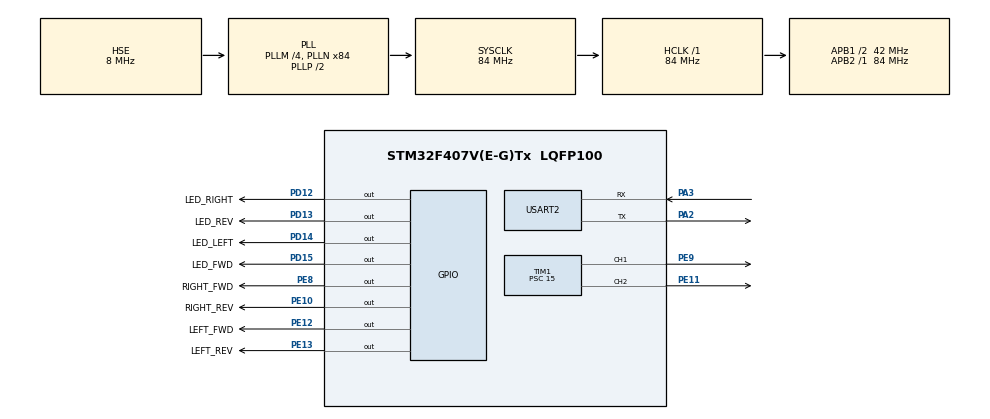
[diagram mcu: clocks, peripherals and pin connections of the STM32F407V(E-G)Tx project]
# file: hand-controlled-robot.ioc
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Mcu.Family=STM32F4
Mcu.Name=STM32F407V(E-G)Tx
Mcu.Package=LQFP100
NVIC.PriorityGroup=NVIC_PRIORITYGROUP_4
NVIC.USART2_IRQn=true\:0\:0\:false\:false\:true\:true\:true\:true
PA2.Mode=Asynchronous
PA2.Signal=USART2_TX
PA3.Mode=Asynchronous
PA3.Signal=USART2_RX
PD12.GPIO_Label=LED_RIGHT
PD12.Signal=GPIO_Output
PD13.GPIO_Label=LED_REV
PD13.Signal=GPIO_Output
PD14.GPIO_Label=LED_LEFT
PD14.Signal=GPIO_Output
PD15.GPIO_Label=LED_FWD
PD15.Signal=GPIO_Output
PE10.GPIO_Label=RIGHT_REV
PE10.Signal=GPIO_Output
PE11.Signal=S_TIM1_CH2
PE12.GPIO_Label=LEFT_FWD
PE12.Signal=GPIO_Output
PE13.GPIO_Label=LEFT_REV
PE13.Signal=GPIO_Output
PE8.GPIO_Label=RIGHT_FWD
PE8.Signal=GPIO_Output
PE9.Signal=S_TIM1_CH1
PH0-OSC_IN.Mode=HSE-External-Oscillator
PH0-OSC_IN.Signal=RCC_OSC_IN
PH1-OSC_OUT.Mode=HSE-External-Oscillator
PH1-OSC_OUT.Signal=RCC_OSC_OUT
ProjectManager.HeapSize=0x200
ProjectManager.StackSize=0x400
ProjectManager.TargetToolchain=STM32CubeIDE
RCC.48MHZClocksFreq_Value=42000000
RCC.AHBFreq_Value=84000000
RCC.APB1CLKDivider=RCC_HCLK_DIV2
RCC.APB1Freq_Value=42000000
RCC.APB1TimFreq_Value=84000000
RCC.APB2Freq_Value=84000000
RCC.APB2TimFreq_Value=84000000
RCC.CortexFreq_Value=84000000
RCC.HCLKFreq_Value=84000000
RCC.HSE_VALUE=8000000
RCC.HSI_VALUE=16000000
RCC.LSE_VALUE=32768
RCC.PLLM=4
RCC.PLLN=84
RCC.PLLSourceVirtual=RCC_PLLSOURCE_HSE
RCC.SYSCLKFreq_VALUE=84000000
RCC.SYSCLKSource=RCC_SYSCLKSOURCE_PLLCLK
RCC.VCOOutputFreq_Value=168000000
SH.S_TIM1_CH1.0=TIM1_CH1,PWM Generation1 CH1
SH.S_TIM1_CH2.0=TIM1_CH2,PWM Generation2 CH2
TIM1.Channel-PWM\ Generation1\ CH1=TIM_CHANNEL_1
TIM1.Channel-PWM\ Generation2\ CH2=TIM_CHANNEL_2
TIM1.Period=255
TIM1.Prescaler=15
USART2.VirtualMode=VM_ASYNC
board=custom

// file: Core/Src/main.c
/* USER CODE BEGIN Header */
/**
  ******************************************************************************
  * @file           : main.c
  * @brief          : Main program body
  ******************************************************************************
  * @attention
  *
  * Copyright (c) 2025 STMicroelectronics.
  * All rights reserved.
  *
  * This software is licensed under terms that can be found in the LICENSE file
  * in the root directory of this software component.
  * If no LICENSE file comes with this software, it is provided AS-IS.
  *
  ******************************************************************************
  */
/* USER CODE END Header */
#include "main.h"

/* USER CODE BEGIN Includes */
#include <string.h>
/* USER CODE END Includes */

/* USER CODE BEGIN PTD */

typedef enum {
  MODE_FORWARD = 0,
  MODE_REVERSE = 1,
  MODE_RIGHT = 2,
  MODE_LEFT = 3,
  MODE_STOP = 4
} MotorMode;

/* USER CODE END PTD */

TIM_HandleTypeDef htim1;
UART_HandleTypeDef huart2;

/* USER CODE BEGIN PV */

#define UART_BUFFER_SIZE 100
#define PACKET_SIZE 5

uint8_t uartRxBuffer[UART_BUFFER_SIZE];
uint8_t rxByte;
volatile uint16_t rxIndex = 0;
uint8_t commandBuffer[PACKET_SIZE];
volatile uint8_t newCommandReceived = 0;

uint8_t currentMode = MODE_STOP;
uint8_t currentPWM_Right = 0;
uint8_t currentPWM_Left = 0;

/* USER CODE END PV */

void SystemClock_Config(void);
static void MX_GPIO_Init(void);
static void MX_TIM1_Init(void);
static void MX_USART2_UART_Init(void);
/* USER CODE BEGIN PFP */
void processCommand(uint8_t *data);
void setMotor(GPIO_TypeDef *fwdPort, uint16_t fwdPin, GPIO_TypeDef *revPort, uint16_t revPin, uint32_t channel, uint8_t pwm, uint8_t forward);
void moveForward(uint8_t pwm_right, uint8_t pwm_left);
void moveReverse(uint8_t pwm_right, uint8_t pwm_left);
void rotateRight(uint8_t pwm_right, uint8_t pwm_left);
void rotateLeft(uint8_t pwm_right, uint8_t pwm_left);
void stopMotors(void);
void updateLEDs(void);
void turnOffAllLEDs(void);
/* USER CODE END PFP */

/* USER CODE BEGIN 0 */
void processCommand(uint8_t *data) {
  if (data[4] != (data[1] ^ data[2] ^ data[3]) || data[1] > MODE_STOP) {
    return;
  }

  currentMode = data[1];
  currentPWM_Right = data[2];
  currentPWM_Left = data[3];

  switch (currentMode) {
    case MODE_FORWARD:  moveForward(data[2], data[3]);  break;
    case MODE_REVERSE:  moveReverse(data[2], data[3]);  break;
    case MODE_RIGHT:    rotateRight(data[2], data[3]);  break;
    case MODE_LEFT:     rotateLeft(data[2], data[3]);   break;
    case MODE_STOP:     stopMotors();                   break;
  }
}

void setMotor(GPIO_TypeDef *fwdPort, uint16_t fwdPin, GPIO_TypeDef *revPort, uint16_t revPin,
              uint32_t channel, uint8_t pwm, uint8_t forward) {
  HAL_GPIO_WritePin(fwdPort, fwdPin, forward ? GPIO_PIN_SET : GPIO_PIN_RESET);
  HAL_GPIO_WritePin(revPort, revPin, forward ? GPIO_PIN_RESET : GPIO_PIN_SET);
  __HAL_TIM_SET_COMPARE(&htim1, channel, pwm);
}

void moveForward(uint8_t pwm_right, uint8_t pwm_left) {
  setMotor(RIGHT_FWD_GPIO_Port, RIGHT_FWD_Pin, RIGHT_REV_GPIO_Port, RIGHT_REV_Pin, TIM_CHANNEL_1, pwm_right, 1);
  setMotor(LEFT_FWD_GPIO_Port, LEFT_FWD_Pin, LEFT_REV_GPIO_Port, LEFT_REV_Pin, TIM_CHANNEL_2, pwm_left, 1);
  updateLEDs();
}

void moveReverse(uint8_t pwm_right, uint8_t pwm_left) {
  setMotor(RIGHT_FWD_GPIO_Port, RIGHT_FWD_Pin, RIGHT_REV_GPIO_Port, RIGHT_REV_Pin, TIM_CHANNEL_1, pwm_right, 0);
  setMotor(LEFT_FWD_GPIO_Port, LEFT_FWD_Pin, LEFT_REV_GPIO_Port, LEFT_REV_Pin, TIM_CHANNEL_2, pwm_left, 0);
  updateLEDs();
}

void rotateRight(uint8_t pwm_right, uint8_t pwm_left) {
  setMotor(RIGHT_FWD_GPIO_Port, RIGHT_FWD_Pin, RIGHT_REV_GPIO_Port, RIGHT_REV_Pin, TIM_CHANNEL_1, pwm_right, 0);
  setMotor(LEFT_FWD_GPIO_Port, LEFT_FWD_Pin, LEFT_REV_GPIO_Port, LEFT_REV_Pin, TIM_CHANNEL_2, pwm_left, 1);
  updateLEDs();
}

void rotateLeft(uint8_t pwm_right, uint8_t pwm_left) {
  setMotor(RIGHT_FWD_GPIO_Port, RIGHT_FWD_Pin, RIGHT_REV_GPIO_Port, RIGHT_REV_Pin, TIM_CHANNEL_1, pwm_right, 1);
  setMotor(LEFT_FWD_GPIO_Port, LEFT_FWD_Pin, LEFT_REV_GPIO_Port, LEFT_REV_Pin, TIM_CHANNEL_2, pwm_left, 0);
  updateLEDs();
}

void stopMotors(void) {
  setMotor(RIGHT_FWD_GPIO_Port, RIGHT_FWD_Pin, RIGHT_REV_GPIO_Port, RIGHT_REV_Pin, TIM_CHANNEL_1, 0, 1);
  setMotor(LEFT_FWD_GPIO_Port, LEFT_FWD_Pin, LEFT_REV_GPIO_Port, LEFT_REV_Pin, TIM_CHANNEL_2, 0, 1);
  turnOffAllLEDs();
}

void updateLEDs(void) {
  turnOffAllLEDs();

  uint8_t rightFwd = HAL_GPIO_ReadPin(RIGHT_FWD_GPIO_Port, RIGHT_FWD_Pin);
  uint8_t leftFwd = HAL_GPIO_ReadPin(LEFT_FWD_GPIO_Port, LEFT_FWD_Pin);

  if (rightFwd == leftFwd) {
    HAL_GPIO_WritePin(rightFwd ? LED_FWD_GPIO_Port : LED_REV_GPIO_Port,
                      rightFwd ? LED_FWD_Pin : LED_REV_Pin, GPIO_PIN_SET);

    if (currentPWM_Right > currentPWM_Left) {
      HAL_GPIO_WritePin(LED_LEFT_GPIO_Port, LED_LEFT_Pin, GPIO_PIN_SET);
    } else if (currentPWM_Left > currentPWM_Right) {
      HAL_GPIO_WritePin(LED_RIGHT_GPIO_Port, LED_RIGHT_Pin, GPIO_PIN_SET);
    }
  }
  else {
    HAL_GPIO_WritePin(rightFwd ? LED_LEFT_GPIO_Port : LED_RIGHT_GPIO_Port,
                      rightFwd ? LED_LEFT_Pin : LED_RIGHT_Pin, GPIO_PIN_SET);
  }
}

void turnOffAllLEDs(void) {
  HAL_GPIO_WritePin(LED_FWD_GPIO_Port, LED_FWD_Pin, GPIO_PIN_RESET);
  HAL_GPIO_WritePin(LED_REV_GPIO_Port, LED_REV_Pin, GPIO_PIN_RESET);
  HAL_GPIO_WritePin(LED_LEFT_GPIO_Port, LED_LEFT_Pin, GPIO_PIN_RESET);
  HAL_GPIO_WritePin(LED_RIGHT_GPIO_Port, LED_RIGHT_Pin, GPIO_PIN_RESET);
}

void HAL_UART_RxCpltCallback(UART_HandleTypeDef *huart) {
  if (huart->Instance == USART2) {
    if (rxIndex == 0) {
      if (rxByte == 0xFF) {
        uartRxBuffer[0] = 0xFF;
        rxIndex = 1;
      }
    }
    else {
      uartRxBuffer[rxIndex++] = rxByte;

      if (rxIndex == PACKET_SIZE) {
        memcpy(commandBuffer, uartRxBuffer, PACKET_SIZE);
        newCommandReceived = 1;
        rxIndex = 0;
      }
    }

    HAL_UART_Receive_IT(&huart2, &rxByte, 1);
  }
}

/* USER CODE END 0 */

int main(void)
{

  /* MCU Configuration--------------------------------------------------------*/

  /* Reset of all peripherals, Initializes the Flash interface and the Systick. */
  HAL_Init();

  /* Configure the system clock */
  SystemClock_Config();

  /* Initialize all configured peripherals */
  MX_GPIO_Init();
  MX_TIM1_Init();
  MX_USART2_UART_Init();
  /* USER CODE BEGIN 2 */

  HAL_TIM_PWM_Start(&htim1, TIM_CHANNEL_1);
  HAL_TIM_PWM_Start(&htim1, TIM_CHANNEL_2);

  stopMotors();

  HAL_UART_Receive_IT(&huart2, &rxByte, 1);

  HAL_GPIO_WritePin(LED_FWD_GPIO_Port, LED_FWD_Pin, GPIO_PIN_SET);
  HAL_Delay(100);
  HAL_GPIO_WritePin(LED_FWD_GPIO_Port, LED_FWD_Pin, GPIO_PIN_RESET);

  HAL_GPIO_WritePin(LED_RIGHT_GPIO_Port, LED_RIGHT_Pin, GPIO_PIN_SET);
  HAL_Delay(100);
  HAL_GPIO_WritePin(LED_RIGHT_GPIO_Port, LED_RIGHT_Pin, GPIO_PIN_RESET);

  HAL_GPIO_WritePin(LED_REV_GPIO_Port, LED_REV_Pin, GPIO_PIN_SET);
  HAL_Delay(100);
  HAL_GPIO_WritePin(LED_REV_GPIO_Port, LED_REV_Pin, GPIO_PIN_RESET);

  HAL_GPIO_WritePin(LED_LEFT_GPIO_Port, LED_LEFT_Pin, GPIO_PIN_SET);
  HAL_Delay(100);
  HAL_GPIO_WritePin(LED_LEFT_GPIO_Port, LED_LEFT_Pin, GPIO_PIN_RESET);

  /* USER CODE END 2 */

  /* Infinite loop */
  while (1)
  {

    /* USER CODE BEGIN 3 */
    if (newCommandReceived) {
      newCommandReceived = 0;
      processCommand(commandBuffer);
    }

    HAL_Delay(1);
  }
  /* USER CODE END 3 */
}

void SystemClock_Config(void)
{
  RCC_OscInitTypeDef RCC_OscInitStruct = {0};
  RCC_ClkInitTypeDef RCC_ClkInitStruct = {0};

  /** Configure the main internal regulator output voltage
  */
  __HAL_RCC_PWR_CLK_ENABLE();
  __HAL_PWR_VOLTAGESCALING_CONFIG(PWR_REGULATOR_VOLTAGE_SCALE1);

  /** Initializes the RCC Oscillators according to the specified parameters
  * in the RCC_OscInitTypeDef structure.
  */
  RCC_OscInitStruct.OscillatorType = RCC_OSCILLATORTYPE_HSE;
  RCC_OscInitStruct.HSEState = RCC_HSE_ON;
  RCC_OscInitStruct.PLL.PLLState = RCC_PLL_ON;
  RCC_OscInitStruct.PLL.PLLSource = RCC_PLLSOURCE_HSE;
  RCC_OscInitStruct.PLL.PLLM = 4;
  RCC_OscInitStruct.PLL.PLLN = 84;
  RCC_OscInitStruct.PLL.PLLP = RCC_PLLP_DIV2;
  RCC_OscInitStruct.PLL.PLLQ = 4;
  if (HAL_RCC_OscConfig(&RCC_OscInitStruct) != HAL_OK)
  {
    Error_Handler();
  }

  /** Initializes the CPU, AHB and APB buses clocks
  */
  RCC_ClkInitStruct.ClockType = RCC_CLOCKTYPE_HCLK|RCC_CLOCKTYPE_SYSCLK
                              |RCC_CLOCKTYPE_PCLK1|RCC_CLOCKTYPE_PCLK2;
  RCC_ClkInitStruct.SYSCLKSource = RCC_SYSCLKSOURCE_PLLCLK;
  RCC_ClkInitStruct.AHBCLKDivider = RCC_SYSCLK_DIV1;
  RCC_ClkInitStruct.APB1CLKDivider = RCC_HCLK_DIV2;
  RCC_ClkInitStruct.APB2CLKDivider = RCC_HCLK_DIV1;

  if (HAL_RCC_ClockConfig(&RCC_ClkInitStruct, FLASH_LATENCY_2) != HAL_OK)
  {
    Error_Handler();
  }
}

static void MX_TIM1_Init(void)
{

  TIM_MasterConfigTypeDef sMasterConfig = {0};
  TIM_OC_InitTypeDef sConfigOC = {0};
  TIM_BreakDeadTimeConfigTypeDef sBreakDeadTimeConfig = {0};

  htim1.Instance = TIM1;
  htim1.Init.Prescaler = 15;
  htim1.Init.CounterMode = TIM_COUNTERMODE_UP;
  htim1.Init.Period = 255;
  htim1.Init.ClockDivision = TIM_CLOCKDIVISION_DIV1;
  htim1.Init.RepetitionCounter = 0;
  htim1.Init.AutoReloadPreload = TIM_AUTORELOAD_PRELOAD_DISABLE;
  if (HAL_TIM_PWM_Init(&htim1) != HAL_OK)
  {
    Error_Handler();
  }
  sMasterConfig.MasterOutputTrigger = TIM_TRGO_RESET;
  sMasterConfig.MasterSlaveMode = TIM_MASTERSLAVEMODE_DISABLE;
  if (HAL_TIMEx_MasterConfigSynchronization(&htim1, &sMasterConfig) != HAL_OK)
  {
    Error_Handler();
  }
  sConfigOC.OCMode = TIM_OCMODE_PWM1;
  sConfigOC.Pulse = 0;
  sConfigOC.OCPolarity = TIM_OCPOLARITY_HIGH;
  sConfigOC.OCNPolarity = TIM_OCNPOLARITY_HIGH;
  sConfigOC.OCFastMode = TIM_OCFAST_DISABLE;
  sConfigOC.OCIdleState = TIM_OCIDLESTATE_RESET;
  sConfigOC.OCNIdleState = TIM_OCNIDLESTATE_RESET;
  if (HAL_TIM_PWM_ConfigChannel(&htim1, &sConfigOC, TIM_CHANNEL_1) != HAL_OK)
  {
    Error_Handler();
  }
  if (HAL_TIM_PWM_ConfigChannel(&htim1, &sConfigOC, TIM_CHANNEL_2) != HAL_OK)
  {
    Error_Handler();
  }
  sBreakDeadTimeConfig.OffStateRunMode = TIM_OSSR_DISABLE;
  sBreakDeadTimeConfig.OffStateIDLEMode = TIM_OSSI_DISABLE;
  sBreakDeadTimeConfig.LockLevel = TIM_LOCKLEVEL_OFF;
  sBreakDeadTimeConfig.DeadTime = 0;
  sBreakDeadTimeConfig.BreakState = TIM_BREAK_DISABLE;
  sBreakDeadTimeConfig.BreakPolarity = TIM_BREAKPOLARITY_HIGH;
  sBreakDeadTimeConfig.AutomaticOutput = TIM_AUTOMATICOUTPUT_DISABLE;
  if (HAL_TIMEx_ConfigBreakDeadTime(&htim1, &sBreakDeadTimeConfig) != HAL_OK)
  {
    Error_Handler();
  }
  HAL_TIM_MspPostInit(&htim1);

}

static void MX_USART2_UART_Init(void)
{

  huart2.Instance = USART2;
  huart2.Init.BaudRate = 115200;
  huart2.Init.WordLength = UART_WORDLENGTH_8B;
  huart2.Init.StopBits = UART_STOPBITS_1;
  huart2.Init.Parity = UART_PARITY_NONE;
  huart2.Init.Mode = UART_MODE_TX_RX;
  huart2.Init.HwFlowCtl = UART_HWCONTROL_NONE;
  huart2.Init.OverSampling = UART_OVERSAMPLING_16;
  if (HAL_UART_Init(&huart2) != HAL_OK)
  {
    Error_Handler();
  }

}

static void MX_GPIO_Init(void)
{
  GPIO_InitTypeDef GPIO_InitStruct = {0};

  /* GPIO Ports Clock Enable */
  __HAL_RCC_GPIOH_CLK_ENABLE();
  __HAL_RCC_GPIOA_CLK_ENABLE();
  __HAL_RCC_GPIOE_CLK_ENABLE();
  __HAL_RCC_GPIOD_CLK_ENABLE();

  /*Configure GPIO pin Output Level */
  HAL_GPIO_WritePin(GPIOE, RIGHT_FWD_Pin|RIGHT_REV_Pin|LEFT_FWD_Pin|LEFT_REV_Pin, GPIO_PIN_RESET);

  /*Configure GPIO pin Output Level */
  HAL_GPIO_WritePin(GPIOD, LED_RIGHT_Pin|LED_REV_Pin|LED_LEFT_Pin|LED_FWD_Pin, GPIO_PIN_RESET);

  /*Configure GPIO pins : RIGHT_FWD_Pin RIGHT_REV_Pin LEFT_FWD_Pin LEFT_REV_Pin */
  GPIO_InitStruct.Pin = RIGHT_FWD_Pin|RIGHT_REV_Pin|LEFT_FWD_Pin|LEFT_REV_Pin;
  GPIO_InitStruct.Mode = GPIO_MODE_OUTPUT_PP;
  GPIO_InitStruct.Pull = GPIO_NOPULL;
  GPIO_InitStruct.Speed = GPIO_SPEED_FREQ_LOW;
  HAL_GPIO_Init(GPIOE, &GPIO_InitStruct);

  /*Configure GPIO pins : LED_RIGHT_Pin LED_REV_Pin LED_LEFT_Pin LED_FWD_Pin */
  GPIO_InitStruct.Pin = LED_RIGHT_Pin|LED_REV_Pin|LED_LEFT_Pin|LED_FWD_Pin;
  GPIO_InitStruct.Mode = GPIO_MODE_OUTPUT_PP;
  GPIO_InitStruct.Pull = GPIO_NOPULL;
  GPIO_InitStruct.Speed = GPIO_SPEED_FREQ_LOW;
  HAL_GPIO_Init(GPIOD, &GPIO_InitStruct);

}

void Error_Handler(void)
{
  __disable_irq();
  while (1)
  {
  }
}
